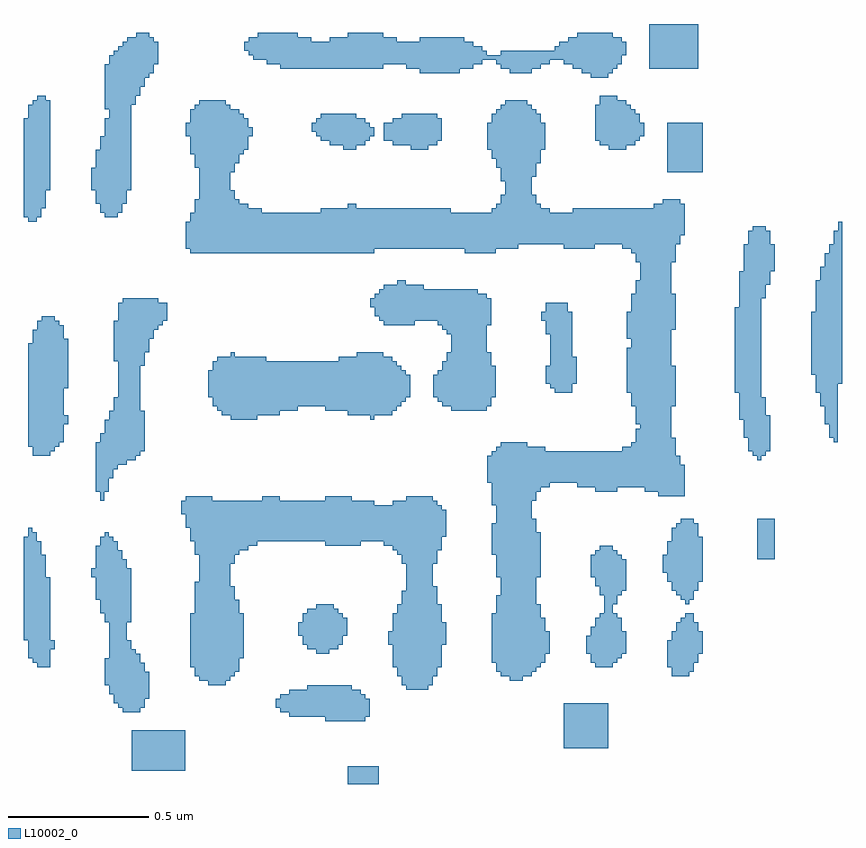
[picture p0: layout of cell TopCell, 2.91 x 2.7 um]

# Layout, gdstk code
import gdstk
lib = gdstk.Library(unit=1e-6, precision=1e-09)
def R(c, l, rs):  # rectangles x0, y0, x1, y1
    for r in rs: c.add(gdstk.rectangle(r[:2], r[2:], *l))
def A(c, l, x, y, w, h, nx, ny, dx, dy):  # array of equal rectangles
    R(c, l, [(x+i*dx, y+j*dy, x+i*dx+w, y+j*dy+h) for i in range(nx) for j in range(ny)])
L10002_0 = (10002, 0)

topcell = lib.new_cell('TopCell')
A(topcell, L10002_0, 2.335, 1.12, 0.016, 0.079, 3, 1, 0.272, 0)
R(topcell, L10002_0, [(1.632,0.656,1.743,0.719), (0.864,0.704,1.055,0.847), (2.4,0.784,2.559,0.943), (1.552,0.88,1.647,1.007), (1.647,0.88,1.679,0.991), (1.679,0.88,1.695,0.975), (1.424,0.896,1.552,0.991), (1.695,0.896,1.711,0.959), (0.832,0.912,0.847,1.455), (0.847,0.912,0.863,1.167), (0.863,0.912,0.879,1.135), (0.879,0.912,0.895,1.119), (1.392,0.912,1.424,0.975), (0.816,0.928,0.831,1.487), (0.831,0.928,0.832,1.455), (0.895,0.928,0.911,1.087), (1.376,0.928,1.392,0.959), (0.8,0.944,0.815,1.519), (0.815,0.944,0.816,1.487), (0.911,0.96,0.927,1.055), (0.784,0.976,0.799,1.535), (0.799,0.976,0.8,1.519), (1.488,0.991,1.552,1.007), (1.84,0.992,1.919,1.679), (0.768,1.008,0.784,1.103), (1.136,1.008,1.151,1.679), (1.151,1.008,1.199,1.663), (1.824,1.008,1.84,1.343), (1.919,1.008,1.935,1.679), (1.104,1.024,1.136,1.679), (1.199,1.024,1.215,1.663), (2.208,1.024,2.255,1.871), (1.088,1.04,1.104,1.375), (1.215,1.04,1.231,1.359), (1.808,1.04,1.824,1.295), (1.935,1.04,1.951,1.359), (2.176,1.04,2.208,1.871), (2.255,1.04,2.271,1.871), (2.271,1.04,2.287,1.855), (2.784,1.04,2.847,1.199), (1.231,1.056,1.247,1.311), (2.16,1.056,2.176,1.327), (2.287,1.056,2.303,1.599), (2.847,1.056,2.863,1.263), (0.528,1.072,0.543,1.519), (0.543,1.072,0.559,1.471), (0.559,1.072,0.575,1.391), (1.072,1.072,1.088,1.263), (1.792,1.072,1.808,1.263), (1.951,1.072,1.967,1.295), (2.303,1.072,2.319,1.295), (2.512,1.072,2.575,1.247), (2.768,1.072,2.784,1.167), (0.512,1.088,0.527,1.551), (0.527,1.088,0.528,1.519), (2.144,1.088,2.16,1.263), (2.319,1.088,2.335,1.247), (2.496,1.088,2.512,1.215), (2.575,1.088,2.591,1.263), (2.863,1.088,2.879,1.231), (0.496,1.104,0.511,1.567), (0.511,1.104,0.512,1.551), (1.247,1.104,1.263,1.263), (2.591,1.104,2.607,1.247), (1.52,1.12,1.567,1.295), (2.48,1.12,2.496,1.183), (0.575,1.136,0.591,1.167), (1.488,1.136,1.52,1.279), (1.567,1.136,1.583,1.295), (1.583,1.136,1.599,1.279), (1.472,1.152,1.488,1.263), (1.599,1.152,1.615,1.263), (1.776,1.152,1.792,1.199), (1.967,1.152,1.983,1.231), (0.48,1.168,0.496,1.535), (1.456,1.184,1.472,1.231), (1.615,1.184,1.631,1.247), (2.8,1.199,2.847,1.231), (2.816,1.231,2.847,1.247), (0.768,1.232,0.783,1.551), (0.783,1.232,0.784,1.535), (0.847,1.232,0.863,1.423), (2.528,1.247,2.575,1.263), (2.832,1.247,2.847,1.263), (2.544,1.263,2.575,1.503), (0.752,1.264,0.768,1.535), (2.575,1.296,2.591,1.487), (2.832,1.296,2.847,1.599), (0.736,1.312,0.752,1.503), (2.816,1.312,2.832,1.599), (2.847,1.312,2.863,1.599), (2.528,1.328,2.544,1.503), (2.591,1.328,2.607,1.471), (2.8,1.328,2.816,1.583), (2.607,1.344,2.623,1.455), (2.784,1.344,2.8,1.567), (2.863,1.344,2.879,1.583), (2.512,1.36,2.528,1.487), (2.768,1.376,2.784,1.519), (2.879,1.376,2.895,1.535), (0.72,1.392,0.736,1.423), (2.16,1.392,2.176,1.855), (2.303,1.392,2.319,1.551), (2.496,1.392,2.512,1.471), (2.752,1.408,2.768,1.471), (1.215,1.44,1.231,1.663), (1.824,1.44,1.84,1.663), (1.935,1.44,1.951,1.663), (3.088,1.456,3.151,1.599), (1.088,1.472,1.104,1.679), (1.231,1.472,1.247,1.663), (1.808,1.472,1.824,1.663), (2.144,1.472,2.16,1.583), (1.247,1.488,1.279,1.663), (1.792,1.488,1.808,1.663), (1.951,1.488,1.967,1.647), (1.279,1.504,1.311,1.663), (1.552,1.504,1.647,1.679), (1.647,1.504,1.679,1.663), (1.76,1.504,1.792,1.647), (1.072,1.52,1.088,1.679), (1.311,1.52,1.552,1.663), (1.679,1.52,1.727,1.663), (1.727,1.52,1.76,1.647), (1.967,1.536,1.983,1.631), (1.056,1.568,1.072,1.679), (1.04,1.616,1.056,1.663), (2.144,1.648,2.16,1.839), (1.328,1.663,1.391,1.679), (0.752,1.664,0.767,1.903), (2.287,1.664,2.303,1.855), (2.736,1.68,2.783,2.719), (2.783,1.68,2.799,1.887), (2.799,1.68,2.815,1.823), (2.815,1.68,2.831,1.791), (0.736,1.696,0.752,1.871), (0.767,1.696,0.783,1.903), (2.303,1.696,2.319,1.855), (2.512,1.696,2.591,1.839), (2.688,1.696,2.736,2.703), (2.319,1.712,2.335,1.855), (2.335,1.712,2.351,1.839), (2.448,1.712,2.512,1.839), (2.591,1.712,2.688,1.839), (2.128,1.728,2.144,1.823), (2.351,1.728,2.448,1.839), (0.783,1.744,0.799,1.951), (0.799,1.776,0.815,1.983), (0.815,1.792,0.847,2.031), (0.847,1.808,0.879,2.383), (3.088,1.808,3.103,2.639), (0.512,1.824,0.575,2.271), (0.879,1.824,0.895,2.383), (3.072,1.824,3.088,2.639), (3.103,1.824,3.119,2.031), (2.608,1.839,2.688,1.855), (0.575,1.84,0.591,2.319), (0.895,1.84,0.911,1.983), (3.056,1.84,3.072,2.623), (3.119,1.84,3.135,1.967), (2.64,1.855,2.688,1.871), (0.496,1.856,0.512,2.223), (0.591,1.856,0.607,2.303), (2.656,1.871,2.688,1.919), (0.607,1.872,0.623,2.287), (3.36,1.872,3.375,2.623), (3.04,1.888,3.056,2.575), (3.344,1.888,3.36,2.575), (0.768,1.903,0.783,1.951), (2.672,1.919,2.688,2.703), (0.623,1.936,0.639,1.967), (2.656,1.936,2.672,2.447), (3.328,1.936,3.344,2.543), (0.784,1.951,0.799,1.983), (1.216,1.952,1.231,2.191), (1.231,1.952,1.311,2.175), (1.712,1.952,1.727,2.191), (3.024,1.952,3.04,2.479), (1.184,1.968,1.216,2.175), (1.311,1.968,1.343,2.175), (1.343,1.968,1.391,2.159), (1.632,1.968,1.712,2.175), (1.727,1.968,1.759,2.191), (1.759,1.968,1.791,2.175), (0.8,1.983,0.815,2.031), (1.168,1.984,1.184,2.175), (1.391,1.984,1.455,2.159), (1.552,1.984,1.632,2.159), (1.791,1.984,1.807,2.159), (2,1.984,2.095,2.415), (2.095,1.984,2.127,2.399), (1.152,2,1.168,2.159), (1.455,2,1.552,2.159), (1.807,2,1.823,2.143), (1.968,2,2,2.159), (2.127,2,2.143,2.191), (2.64,2,2.656,2.399), (2.783,2,2.799,2.143), (3.312,2,3.328,2.495), (1.823,2.016,1.839,2.127), (1.952,2.016,1.968,2.127), (0.816,2.031,0.847,2.367), (1.136,2.032,1.152,2.127), (1.839,2.032,1.855,2.111), (1.936,2.032,1.952,2.111), (2.143,2.032,2.159,2.143), (2.368,2.048,2.415,2.367), (2.415,2.048,2.431,2.335), (2.624,2.048,2.64,2.207), (3.008,2.048,3.024,2.351), (3.296,2.048,3.312,2.447), (0.623,2.064,0.639,2.239), (2.352,2.064,2.368,2.367), (2.336,2.08,2.352,2.143), (2.431,2.08,2.447,2.175), (3.375,2.08,3.391,2.623), (3.28,2.112,3.296,2.335), (0.895,2.144,0.911,2.383), (1.6,2.159,1.632,2.175), (1.984,2.159,2,2.191), (0.8,2.16,0.816,2.303), (1.664,2.175,1.712,2.191), (0.911,2.192,0.927,2.383), (0.927,2.24,0.943,2.383), (2.624,2.24,2.64,2.335), (1.984,2.256,2,2.415), (2.336,2.256,2.352,2.367), (0.528,2.271,0.575,2.303), (0.943,2.272,0.959,2.383), (1.968,2.272,1.984,2.415), (2.783,2.272,2.799,2.399), (0.959,2.288,0.975,2.367), (1.76,2.288,1.871,2.431), (1.952,2.288,1.968,2.415), (2.127,2.288,2.143,2.383), (0.544,2.303,0.575,2.319), (0.975,2.304,0.991,2.367), (1.744,2.304,1.76,2.415), (1.871,2.304,1.903,2.431), (1.903,2.304,1.952,2.415), (2.32,2.304,2.336,2.335), (1.728,2.32,1.744,2.399), (1.712,2.352,1.728,2.383), (0.832,2.367,0.847,2.383), (3.103,2.384,3.119,2.639), (1.808,2.431,1.839,2.447), (3.119,2.432,3.135,2.623), (3.135,2.48,3.151,2.575), (2.656,2.512,2.672,2.703), (2.783,2.512,2.799,2.735), (1.072,2.544,1.727,2.687), (2.048,2.544,2.159,2.687), (2.64,2.544,2.656,2.703), (1.056,2.56,1.072,2.655), (1.727,2.56,1.999,2.703), (1.999,2.56,2.048,2.687), (2.159,2.56,2.239,2.703), (2.4,2.56,2.511,2.687), (2.608,2.56,2.64,2.703), (2.239,2.576,2.271,3.087), (2.271,2.576,2.287,3.071), (2.287,2.576,2.303,2.751), (2.303,2.576,2.319,2.719), (2.319,2.576,2.351,2.703), (2.351,2.576,2.4,2.687), (2.511,2.576,2.608,2.703), (2.799,2.576,2.815,2.735), (2.815,2.608,2.831,2.719), (3.376,2.623,3.391,2.655), (0.496,2.656,0.527,3.071), (0.48,2.672,0.496,3.023), (0.527,2.672,0.543,3.087), (0.768,2.672,0.815,3.023), (1.088,2.687,1.247,2.735), (1.247,2.687,1.279,2.719), (1.279,2.687,1.327,2.703), (1.536,2.687,1.727,2.703), (2.144,2.687,2.159,2.703), (2.432,2.687,2.511,2.703), (0.752,2.688,0.768,2.959), (0.815,2.688,0.831,3.263), (1.632,2.703,1.663,2.719), (2.16,2.703,2.239,2.719), (2.72,2.703,2.736,2.719), (0.543,2.704,0.559,3.103), (2.176,2.719,2.239,2.751), (2.752,2.719,2.783,2.735), (0.736,2.72,0.752,2.911), (0.831,2.72,0.847,3.279), (1.104,2.735,1.199,3.087), (1.199,2.735,1.215,3.071), (1.215,2.735,1.231,2.767), (2.192,2.751,2.239,3.087), (0.559,2.768,0.575,3.087), (0.72,2.768,0.736,2.847), (0.847,2.768,0.863,3.295), (2.176,2.8,2.192,3.071), (2.287,2.816,2.303,3.055), (1.215,2.832,1.231,3.055), (2.768,2.832,2.895,3.007), (1.088,2.848,1.104,3.071), (2.16,2.848,2.176,3.055), (1.231,2.864,1.247,3.055), (2.303,2.864,2.319,3.039), (2.144,2.88,2.16,3.039), (1.072,2.896,1.088,3.055), (1.247,2.896,1.263,3.039), (1.263,2.912,1.279,3.023), (1.616,2.912,1.663,3.039), (1.856,2.912,1.919,3.039), (2.128,2.912,2.144,3.007), (2.319,2.912,2.335,3.007), (2.56,2.912,2.591,3.103), (2.591,2.912,2.623,3.087), (1.568,2.928,1.616,3.039), (1.663,2.928,1.695,3.023), (1.792,2.928,1.856,3.023), (1.919,2.928,1.951,3.039), (2.528,2.928,2.56,3.103), (2.623,2.928,2.639,3.071), (2.639,2.928,2.655,3.055), (1.536,2.944,1.568,3.039), (1.695,2.944,1.711,3.007), (1.76,2.944,1.792,3.007), (1.951,2.944,1.967,3.023), (2.512,2.944,2.528,3.071), (2.655,2.944,2.671,3.039), (1.056,2.96,1.072,3.007), (1.279,2.96,1.295,2.991), (1.52,2.96,1.536,3.023), (1.711,2.96,1.727,2.991), (2.671,2.96,2.687,3.007), (1.504,2.976,1.52,3.007), (0.784,3.023,0.815,3.247), (1.824,3.023,1.856,3.039), (0.768,3.056,0.784,3.215), (0.512,3.071,0.527,3.087), (0.863,3.072,0.879,3.311), (0.528,3.087,0.543,3.103), (0.879,3.104,0.895,3.311), (0.895,3.136,0.911,3.327), (0.911,3.168,0.927,3.327), (2.496,3.168,2.559,3.327), (0.927,3.184,0.943,3.311), (1.888,3.184,2.031,3.311), (2.208,3.184,2.287,3.263), (2.464,3.184,2.496,3.327), (2.559,3.184,2.575,3.327), (1.392,3.2,1.455,3.327), (1.455,3.2,1.503,3.311), (1.503,3.2,1.759,3.295), (1.84,3.2,1.888,3.295), (2.031,3.2,2.047,3.311), (2.047,3.2,2.079,3.295), (2.176,3.2,2.208,3.263), (2.287,3.2,2.319,3.263), (2.432,3.2,2.464,3.311), (2.575,3.2,2.591,3.311), (2.704,3.2,2.879,3.359), (0.943,3.216,0.959,3.295), (1.344,3.216,1.392,3.327), (1.759,3.216,1.807,3.311), (1.807,3.216,1.84,3.295), (2.079,3.216,2.111,3.279), (2.16,3.216,2.176,3.247), (2.319,3.216,2.351,3.263), (2.4,3.216,2.432,3.295), (2.591,3.216,2.607,3.311), (1.296,3.232,1.344,3.311), (2.111,3.232,2.127,3.263), (2.127,3.232,2.16,3.247), (2.351,3.232,2.4,3.263), (0.8,3.247,0.815,3.263), (1.28,3.248,1.296,3.311), (2.607,3.248,2.623,3.295), (0.816,3.263,0.831,3.279), (2.368,3.263,2.4,3.279), (1.264,3.264,1.28,3.295), (0.832,3.279,0.847,3.295), (2.384,3.279,2.4,3.295), (0.848,3.295,0.863,3.311), (1.568,3.295,1.759,3.311), (2.416,3.295,2.432,3.311), (0.88,3.311,0.895,3.327), (1.312,3.311,1.344,3.327), (1.632,3.311,1.759,3.327), (2.448,3.311,2.464,3.327)])

lib.write_gds('TopCell.gds')
